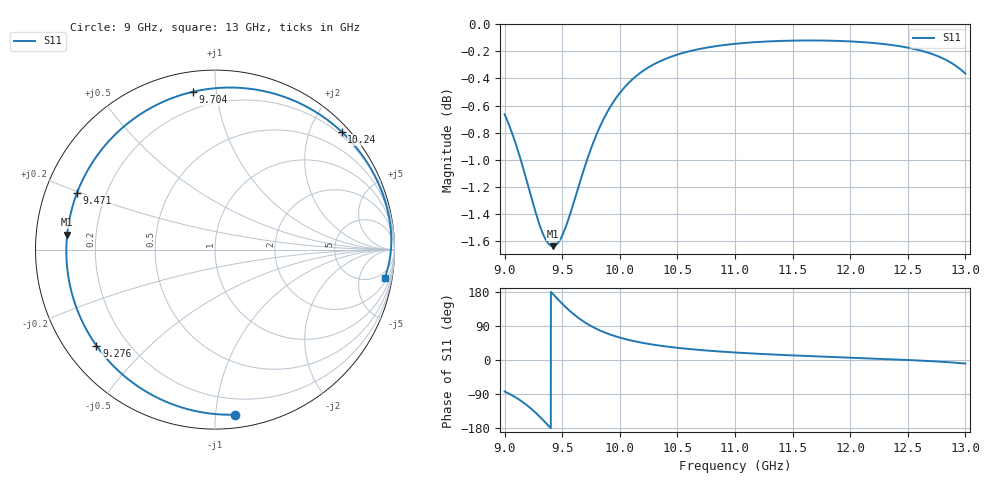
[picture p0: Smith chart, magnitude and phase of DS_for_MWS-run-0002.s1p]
! TOUCHSTONE file generated by CST DESIGN STUDIO
! Date and time: Tue Feb  4 17:36:19 2025
! Project name: C:\Work\MatlabApps\UnitCellOptimizationMatlab\CST\unitcell.cst
! Tree item: Tasks\Sweep1\SPara1\S-Parameters
! Header version: 2024
! Port assignment regex: !\s*Touchstone port\s*([0-9]+)\s*=\s*(CST MWS port|CST DES external port|CST DES block port)\s*(.+)\s* \(\"(.*)\"\)(\s*mode\s*([0-9]+))?.*
! Touchstone port assignment:
! Touchstone port 1 = CST DES external port 1 ("")
# GHz S MA R 50
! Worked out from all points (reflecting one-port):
!   4001 points, 9 GHz to 13 GHz, reference 50 ohm
!   lowest |S11| = -1.6 dB at 9.419 GHz (marker M1), VSWR 10.62, Z = 4.72 + j2.51 ohm
!   phase of S11 starts at -83 deg and turns -286 deg over the sweep
!   S11 on the Smith chart (normalised r, x): 9 GHz: 0.09, -1.12; 9.276 GHz: 0.09, -0.35; 9.471 GHz: 0.10, +0.20; 9.704 GHz: 0.10, +0.87; 10.24 GHz: 0.14, +2.54; 13 GHz: 3, -11
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9  0.9263 -83.1
9.082  0.9072 -96.2
9.151  0.8878 -109.7
9.214  0.8686 -124.3
9.276  0.8502 -141.0
9.315  0.8404 -152.6
9.351  0.8334 -163.8
9.385  0.8293 -174.7
9.419  0.8279 174.2
9.471  0.8311 157.5
9.5  0.8355 148.5
9.55  0.8461 134.0
9.599  0.859 121.0
9.65  0.8733 109.0
9.704  0.888 97.9
9.769  0.9041 86.6
9.847  0.9203 75.4
9.921  0.9327 66.7
10  0.9433 59.2
10.113  0.9546 50.5
10.242  0.9637 42.9
10.5  0.9746 32.1
10.723  0.9798 25.7
11  0.9836 19.8
11.5  0.9863 12.2
12  0.9856 6.1
12.5  0.9804 0.0
13  0.9589 -9.4
